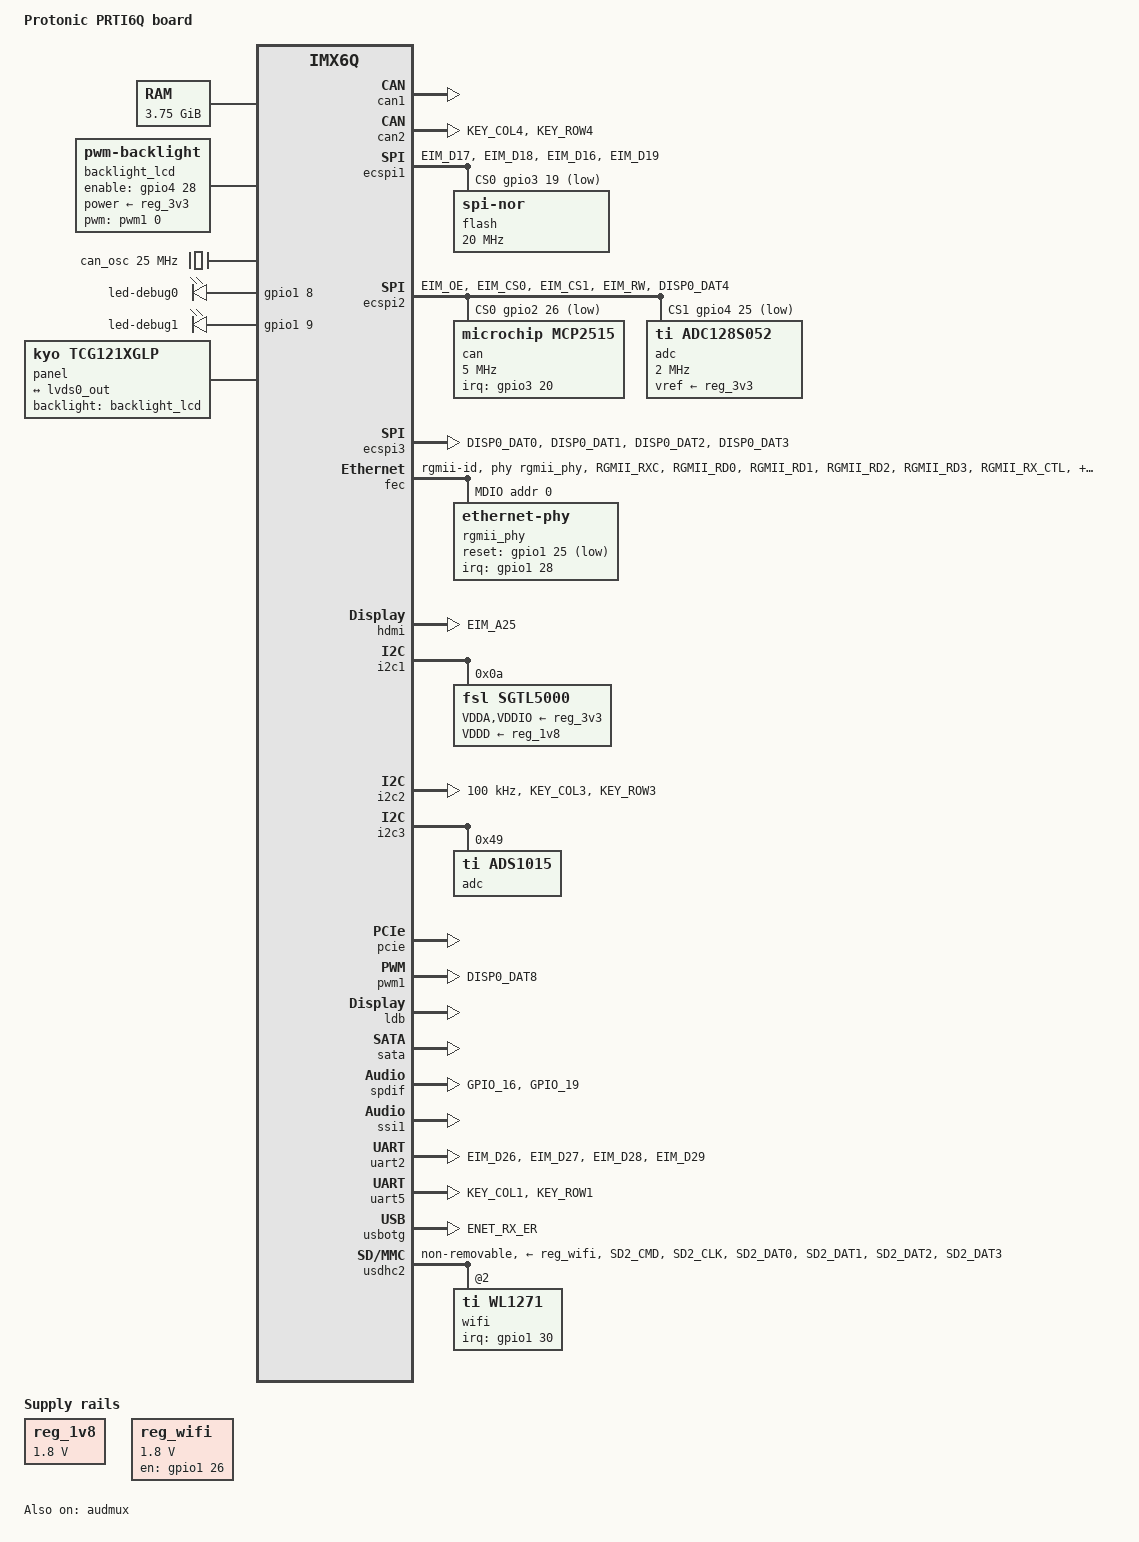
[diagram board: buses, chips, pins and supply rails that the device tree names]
// SPDX-License-Identifier: GPL-2.0-or-later OR MIT
/*
 * Copyright (c) 2014 Protonic Holland
 */

/dts-v1/;
#include "imx6q.dtsi"
#include "imx6qdl-prti6q.dtsi"
#include <dt-bindings/leds/common.h>
#include <dt-bindings/sound/fsl-imx-audmux.h>

/ {
	model = "Protonic PRTI6Q board";
	compatible = "prt,prti6q", "fsl,imx6q";

	memory@10000000 {
		device_type = "memory";
		reg = <0x10000000 0xf0000000>;
	};

	backlight_lcd: backlight-lcd {
		compatible = "pwm-backlight";
		pinctrl-names = "default";
		pinctrl-0 = <&pinctrl_backlight>;
		pwms = <&pwm1 0 5000000>;
		brightness-levels = <0 16 64 255>;
		num-interpolated-steps = <16>;
		default-brightness-level = <1>;
		power-supply = <&reg_3v3>;
		enable-gpios = <&gpio4 28 GPIO_ACTIVE_HIGH>;
	};

	can_osc: can-osc {
		compatible = "fixed-clock";
		#clock-cells = <0>;
		clock-frequency = <25000000>;
	};

	leds {
		compatible = "gpio-leds";
		pinctrl-names = "default";
		pinctrl-0 = <&pinctrl_leds>;

		led-debug0 {
			function = LED_FUNCTION_STATUS;
			gpios = <&gpio1 8 GPIO_ACTIVE_HIGH>;
			linux,default-trigger = "heartbeat";
		};

		led-debug1 {
			function = LED_FUNCTION_SD;
			gpios = <&gpio1 9 GPIO_ACTIVE_HIGH>;
			linux,default-trigger = "disk-activity";
		};
	};

	panel {
		compatible = "kyo,tcg121xglp";
		backlight = <&backlight_lcd>;

		port {
			panel_in: endpoint {
				remote-endpoint = <&lvds0_out>;
			};
		};
	};

	reg_1v8: regulator-1v8 {
		compatible = "regulator-fixed";
		regulator-name = "1v8";
		regulator-min-microvolt = <1800000>;
		regulator-max-microvolt = <1800000>;
	};

	reg_wifi: regulator-wifi {
		compatible = "regulator-fixed";
		pinctrl-names = "default";
		pinctrl-0 = <&pinctrl_wifi_npd>;
		enable-active-high;
		gpio = <&gpio1 26 GPIO_ACTIVE_HIGH>;
		regulator-max-microvolt = <1800000>;
		regulator-min-microvolt = <1800000>;
		regulator-name = "regulator-WL12xx";
		startup-delay-us = <70000>;
	};

	sound {
		compatible = "simple-audio-card";
		simple-audio-card,name = "prti6q-sgtl5000";
		simple-audio-card,format = "i2s";
		simple-audio-card,widgets =
			"Microphone", "Microphone Jack",
			"Line", "Line In Jack",
			"Headphone", "Headphone Jack",
			"Speaker", "External Speaker";
		simple-audio-card,routing =
			"MIC_IN", "Microphone Jack",
			"LINE_IN", "Line In Jack",
			"Headphone Jack", "HP_OUT",
			"External Speaker", "LINE_OUT";

		simple-audio-card,cpu {
			sound-dai = <&ssi1>;
			system-clock-frequency = <0>;
		};

		simple-audio-card,codec {
			sound-dai = <&sgtl5000>;
			bitclock-master;
			frame-master;
		};
	};

	sound-spdif {
		compatible = "fsl,imx-audio-spdif";
		model = "imx-spdif";
		spdif-controller = <&spdif>;
		spdif-in;
		spdif-out;
	};
};

&audmux {
	pinctrl-names = "default";
	pinctrl-0 = <&pinctrl_audmux>;
	status = "okay";

	mux-ssi1 {
		fsl,audmux-port = <0>;
		fsl,port-config = <
			IMX_AUDMUX_V2_PTCR_SYN		0
			IMX_AUDMUX_V2_PTCR_TFSEL(2)	0
			IMX_AUDMUX_V2_PTCR_TCSEL(2)	0
			IMX_AUDMUX_V2_PTCR_TFSDIR	0
			IMX_AUDMUX_V2_PTCR_TCLKDIR IMX_AUDMUX_V2_PDCR_RXDSEL(2)
		>;
	};

	mux-pins3 {
		fsl,audmux-port = <2>;
		fsl,port-config = <
			IMX_AUDMUX_V2_PTCR_SYN IMX_AUDMUX_V2_PDCR_RXDSEL(0)
			0		       IMX_AUDMUX_V2_PDCR_TXRXEN
		>;
	};
};

&can1 {
	pinctrl-names = "default";
	pinctrl-0 = <&pinctrl_can1>;
	status = "okay";
};

&can2 {
	pinctrl-names = "default";
	pinctrl-0 = <&pinctrl_can2>;
	status = "okay";
};

&ecspi1 {
	cs-gpios = <&gpio3 19 GPIO_ACTIVE_LOW>;
	pinctrl-names = "default";
	pinctrl-0 = <&pinctrl_ecspi1>;
	status = "okay";

	flash@0 {
		compatible = "jedec,spi-nor";
		reg = <0>;
		spi-max-frequency = <20000000>;
	};
};

&ecspi2 {
	cs-gpios = <&gpio2 26 GPIO_ACTIVE_LOW>, <&gpio4 25 GPIO_ACTIVE_LOW>;
	pinctrl-names = "default";
	pinctrl-0 = <&pinctrl_ecspi2 &pinctrl_ecspi2_cs>;
	status = "okay";

	can@0 {
		compatible = "microchip,mcp2515";
		reg = <0>;
		pinctrl-names = "default";
		pinctrl-0 = <&pinctrl_can3>;
		clocks = <&can_osc>;
		interrupts-extended = <&gpio3 20 IRQ_TYPE_LEVEL_LOW>;
		spi-max-frequency = <5000000>;
	};

	adc@1 {
		compatible = "ti,adc128s052";
		reg = <1>;
		spi-max-frequency = <2000000>;
		vref-supply = <&reg_3v3>;
	};
};

&ecspi3 {
	cs-gpios = <&gpio4 24 GPIO_ACTIVE_LOW>;
	pinctrl-names = "default";
	pinctrl-0 = <&pinctrl_ecspi3>;
	status = "okay";
};

&fec {
	pinctrl-names = "default";
	pinctrl-0 = <&pinctrl_enet>;
	phy-mode = "rgmii-id";
	phy-handle = <&rgmii_phy>;
	status = "okay";

	mdio {
		#address-cells = <1>;
		#size-cells = <0>;

		/* Microchip KSZ9031RNX PHY */
		rgmii_phy: ethernet-phy@0 {
			reg = <0>;
			interrupts-extended = <&gpio1 28 IRQ_TYPE_LEVEL_LOW>;
			reset-gpios = <&gpio1 25 GPIO_ACTIVE_LOW>;
			reset-assert-us = <10000>;
			reset-deassert-us = <300>;
		};
	};
};

&hdmi {
	pinctrl-names = "default";
	pinctrl-0 = <&pinctrl_hdmi>;
	ddc-i2c-bus = <&i2c2>;
	status = "okay";
};

&i2c1 {
	sgtl5000: audio-codec@a {
		compatible = "fsl,sgtl5000";
		reg = <0xa>;
		#sound-dai-cells = <0>;
		clocks = <&clks 201>;
		VDDA-supply = <&reg_3v3>;
		VDDIO-supply = <&reg_3v3>;
		VDDD-supply = <&reg_1v8>;
	};
};

/* DDC */
&i2c2 {
	clock-frequency = <100000>;
	pinctrl-names = "default";
	pinctrl-0 = <&pinctrl_i2c2>;
	status = "okay";
};

&i2c3 {
	adc@49 {
		compatible = "ti,ads1015";
		reg = <0x49>;
		#address-cells = <1>;
		#size-cells = <0>;

		/* can2_l */
		channel@4 {
			reg = <4>;
			ti,gain = <3>;
			ti,datarate = <3>;
		};

		/* can2_h */
		channel@5 {
			reg = <5>;
			ti,gain = <3>;
			ti,datarate = <3>;
		};

		/* can1_l */
		channel@6 {
			reg = <6>;
			ti,gain = <3>;
			ti,datarate = <3>;
		};

		/* can1_h */
		channel@7 {
			reg = <7>;
			ti,gain = <3>;
			ti,datarate = <3>;
		};
	};
};

&pcie {
	status = "okay";
};

&pwm1 {
	#pwm-cells = <2>;
	pinctrl-names = "default";
	pinctrl-0 = <&pinctrl_pwm1>;
	status = "okay";
};

&ldb {
	status = "okay";

	lvds-channel@0 {
		status = "okay";

		port@4 {
			reg = <4>;

			lvds0_out: endpoint {
				remote-endpoint = <&panel_in>;
			};
		};
	};
};

&sata {
	status = "okay";
};

&snvs_poweroff {
	status = "okay";
};

&spdif {
	pinctrl-names = "default";
	pinctrl-0 = <&pinctrl_spdif>;
	status = "okay";
};

&ssi1 {
	#sound-dai-cells = <0>;
	fsl,mode = "ac97-slave";
	status = "okay";
};

&uart2 {
	pinctrl-names = "default";
	pinctrl-0 = <&pinctrl_uart2>;
	status = "okay";
};

&uart5 {
	pinctrl-names = "default";
	pinctrl-0 = <&pinctrl_uart5>;
	status = "okay";
};

&usbotg {
	pinctrl-0 = <&pinctrl_usbotg &pinctrl_usbotg_id>;
};

&usdhc2 {
	pinctrl-names = "default";
	pinctrl-0 = <&pinctrl_usdhc2>;
	non-removable;
	vmmc-supply = <&reg_wifi>;
	cap-power-off-card;
	keep-power-in-suspend;
	status = "okay";

	#address-cells = <1>;
	#size-cells = <0>;
	wifi@2 {
		compatible = "ti,wl1271";
		reg = <2>;
		pinctrl-names = "default";
		pinctrl-0 = <&pinctrl_wifi>;
		interrupts-extended = <&gpio1 30 IRQ_TYPE_LEVEL_HIGH>;
		ref-clock-frequency = <38400000>;
		tcxo-clock-frequency = <19200000>;
	};
};

&iomuxc {
	pinctrl_audmux: audmuxgrp {
		fsl,pins = <
			MX6QDL_PAD_CSI0_MCLK__CCM_CLKO1		0x030b0
			MX6QDL_PAD_CSI0_DAT7__AUD3_RXD		0x130b0
			MX6QDL_PAD_CSI0_DAT4__AUD3_TXC		0x130b0
			MX6QDL_PAD_CSI0_DAT5__AUD3_TXD		0x110b0
			MX6QDL_PAD_CSI0_DAT6__AUD3_TXFS		0x130b0
		>;
	};

	pinctrl_backlight: backlightgrp {
		fsl,pins = <
			MX6QDL_PAD_DISP0_DAT7__GPIO4_IO28	0x1b0b0
		>;
	};

	pinctrl_can2: can2grp {
		fsl,pins = <
			MX6QDL_PAD_KEY_COL4__FLEXCAN2_TX	0x1b008
			MX6QDL_PAD_KEY_ROW4__FLEXCAN2_RX	0x1b008
		>;
	};

	pinctrl_can3: can3grp {
		fsl,pins = <
			MX6QDL_PAD_EIM_D20__GPIO3_IO20		0x1b0b1
		>;
	};

	pinctrl_ecspi1: ecspi1grp {
		fsl,pins = <
			MX6QDL_PAD_EIM_D17__ECSPI1_MISO		0x100b1
			MX6QDL_PAD_EIM_D18__ECSPI1_MOSI		0x100b1
			MX6QDL_PAD_EIM_D16__ECSPI1_SCLK		0x100b1
			/* CS */
			MX6QDL_PAD_EIM_D19__GPIO3_IO19		0x000b1
		>;
	};

	pinctrl_ecspi2: ecspi2grp {
		fsl,pins = <
			MX6QDL_PAD_EIM_OE__ECSPI2_MISO		0x100b1
			MX6QDL_PAD_EIM_CS0__ECSPI2_SCLK		0x100b1
			MX6QDL_PAD_EIM_CS1__ECSPI2_MOSI		0x100b1
			MX6QDL_PAD_EIM_RW__GPIO2_IO26		0x000b1
		>;
	};

	pinctrl_ecspi2_cs: ecspi2csgrp {
		fsl,pins = <
			/* ADC128S022 CS */
			MX6QDL_PAD_DISP0_DAT4__GPIO4_IO25	0x1b0b1
		>;
	};

	pinctrl_ecspi3: ecspi3grp {
		fsl,pins = <
			MX6QDL_PAD_DISP0_DAT0__ECSPI3_SCLK	0x100b1
			MX6QDL_PAD_DISP0_DAT1__ECSPI3_MOSI	0x100b1
			MX6QDL_PAD_DISP0_DAT2__ECSPI3_MISO	0x100b1
			MX6QDL_PAD_DISP0_DAT3__GPIO4_IO24	0x000b1
		>;
	};

	pinctrl_enet: enetgrp {
		fsl,pins = <
			MX6QDL_PAD_RGMII_RXC__RGMII_RXC		0x1b030
			MX6QDL_PAD_RGMII_RD0__RGMII_RD0		0x1b030
			MX6QDL_PAD_RGMII_RD1__RGMII_RD1		0x1b030
			MX6QDL_PAD_RGMII_RD2__RGMII_RD2		0x1b030
			MX6QDL_PAD_RGMII_RD3__RGMII_RD3		0x1b030
			MX6QDL_PAD_RGMII_RX_CTL__RGMII_RX_CTL	0x1b030
			MX6QDL_PAD_RGMII_TXC__RGMII_TXC		0x10030
			MX6QDL_PAD_RGMII_TD0__RGMII_TD0		0x10030
			MX6QDL_PAD_RGMII_TD1__RGMII_TD1		0x10030
			MX6QDL_PAD_RGMII_TD2__RGMII_TD2		0x10030
			MX6QDL_PAD_RGMII_TD3__RGMII_TD3		0x10030
			MX6QDL_PAD_RGMII_TX_CTL__RGMII_TX_CTL	0x10030
			MX6QDL_PAD_ENET_REF_CLK__ENET_TX_CLK	0x10030
			MX6QDL_PAD_ENET_MDIO__ENET_MDIO		0x10030
			MX6QDL_PAD_ENET_MDC__ENET_MDC		0x10030

			/* Phy reset */
			MX6QDL_PAD_ENET_CRS_DV__GPIO1_IO25	0x1b0b0
			MX6QDL_PAD_ENET_TX_EN__GPIO1_IO28	0x1b0b1
		>;
	};

	pinctrl_hdmi: hdmigrp {
		fsl,pins = <
			/* NOTE: DDC is done via I2C2, so DON'T
			 * configure DDC pins for HDMI!
			 */
			MX6QDL_PAD_EIM_A25__HDMI_TX_CEC_LINE	0x1f8b0
		>;
	};

	/* DDC */
	pinctrl_i2c2: i2c2grp {
		fsl,pins = <
			MX6QDL_PAD_KEY_COL3__I2C2_SCL	0x4001b8b1
			MX6QDL_PAD_KEY_ROW3__I2C2_SDA	0x4001b8b1
		>;
	};

	pinctrl_leds: ledsgrp {
		fsl,pins = <
			MX6QDL_PAD_GPIO_8__GPIO1_IO08		0x1b0b0
			MX6QDL_PAD_GPIO_9__GPIO1_IO09		0x1b0b0
		>;
	};

	pinctrl_pwm1: pwm1grp {
		fsl,pins = <
			MX6QDL_PAD_DISP0_DAT8__PWM1_OUT		0x1b0b0
		>;
	};

	pinctrl_spdif: spdifgrp {
		fsl,pins = <
			MX6QDL_PAD_GPIO_16__SPDIF_IN		0x1b0b0
			MX6QDL_PAD_GPIO_19__SPDIF_OUT		0x1b0b0
		>;
	};

	pinctrl_uart2: uart2grp {
		fsl,pins = <
			MX6QDL_PAD_EIM_D26__UART2_RX_DATA	0x1b0b1
			MX6QDL_PAD_EIM_D27__UART2_TX_DATA	0x1b0b1
			MX6QDL_PAD_EIM_D28__UART2_DTE_CTS_B	0x1b0b1
			MX6QDL_PAD_EIM_D29__UART2_DTE_RTS_B	0x1b0b1
		>;
	};

	pinctrl_uart5: uart5grp {
		fsl,pins = <
			MX6QDL_PAD_KEY_COL1__UART5_TX_DATA	0x1b0b1
			MX6QDL_PAD_KEY_ROW1__UART5_RX_DATA	0x1b0b1
		>;
	};

	pinctrl_usbotg_id: usbotgidgrp {
		fsl,pins = <
			MX6QDL_PAD_ENET_RX_ER__USB_OTG_ID	0x1f058
		>;
	};

	pinctrl_usdhc2: usdhc2grp {
		fsl,pins = <
			MX6QDL_PAD_SD2_CMD__SD2_CMD		0x170b9
			MX6QDL_PAD_SD2_CLK__SD2_CLK		0x100b9
			MX6QDL_PAD_SD2_DAT0__SD2_DATA0		0x170b9
			MX6QDL_PAD_SD2_DAT1__SD2_DATA1		0x170b9
			MX6QDL_PAD_SD2_DAT2__SD2_DATA2		0x170b9
			MX6QDL_PAD_SD2_DAT3__SD2_DATA3		0x170b9
		>;
	};

	pinctrl_wifi: wifigrp {
		fsl,pins = <
			/* WL12xx IRQ */
			MX6QDL_PAD_ENET_TXD0__GPIO1_IO30	0x10880
		>;
	};

	pinctrl_wifi_npd: wifinpd {
		fsl,pins = <
			MX6QDL_PAD_ENET_RXD1__GPIO1_IO26	0x1b8b0
		>;
	};
};
